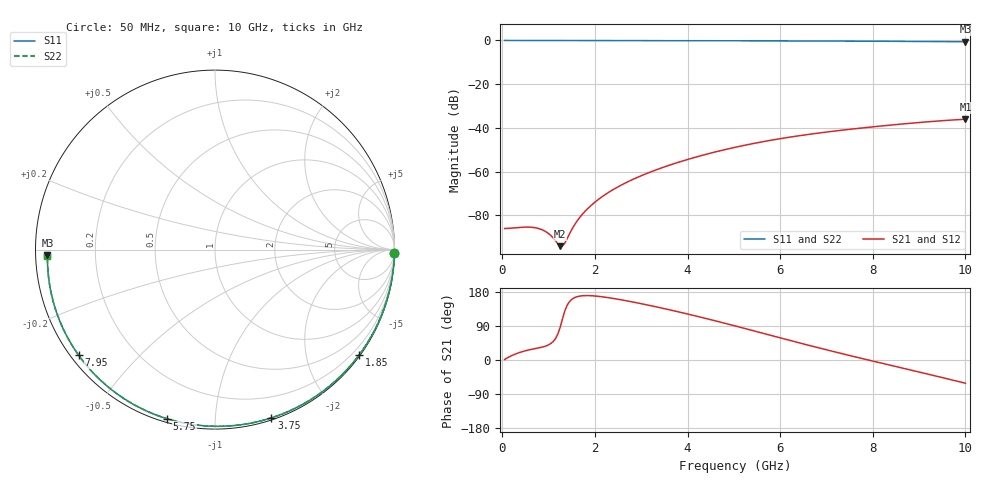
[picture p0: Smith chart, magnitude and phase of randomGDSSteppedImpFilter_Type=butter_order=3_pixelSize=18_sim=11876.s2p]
! freq	dB(S11)	phase(S11)	dB(S12)	phase(S12)
!  dB(S21)	phase(S21)	dB(S22)	phase(S22)
!S-par simulation data
#  GHz  S  DB  R 50
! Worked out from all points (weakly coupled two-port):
!   200 points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, 50 MHz to 10 GHz, reference 50 ohm
!   highest |S21| = -36.02 dB at 10 GHz (marker M1); lowest = -94.1 dB at 1.25 GHz (marker M2)
!   lowest |S11| = -0.6 dB at 10 GHz (marker M3), VSWR 29.31, Z = 1.71 - j0.872 ohm
!   |S11| at or under -10 dB: nowhere
!   |S22| runs from -0.6 to 0.0 dB; largest |S21 - S12| = 0
!   S11 on the Smith chart (normalised r, x): 50 MHz: open; 1.85 GHz: 0.03, -3.05; 3.75 GHz: 0.02, -1.39; 5.75 GHz: 0.02, -0.75; 7.95 GHz: 0.02, -0.34; 10 GHz: 0.03, -0.02
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0.05  -0.00 -1.0  -86.00 1.2  -86.00 1.2  -0.00 -1.0
0.65  -0.01 -12.9  -85.47 28.5  -85.47 28.5  -0.01 -12.9
1.25  -0.03 -24.7  -94.07 86.4  -94.07 86.4  -0.03 -24.7
1.7  -0.04 -33.4  -80.22 169.2  -80.22 169.2  -0.04 -33.4
1.75  -0.04 -34.4  -78.99 169.7  -78.99 169.7  -0.04 -34.4
1.85  -0.05 -36.3  -76.78 170.0  -76.78 170.0  -0.05 -36.3
2  -0.05 -39.2  -73.94 168.9  -73.94 168.9  -0.05 -39.2
2.15  -0.05 -42.0  -71.53 166.9  -71.53 166.9  -0.05 -42.0
2.5  -0.06 -48.6  -66.93 160.3  -66.93 160.3  -0.06 -48.6
2.9  -0.07 -56.1  -62.77 151.1  -62.77 151.1  -0.07 -56.0
3.4  -0.09 -65.2  -58.57 138.2  -58.57 138.2  -0.09 -65.2
3.75  -0.10 -71.5  -56.06 128.6  -56.06 128.6  -0.10 -71.5
4.4  -0.12 -82.9  -52.07 109.5  -52.07 109.5  -0.12 -82.9
5.05  -0.15 -94.1  -48.76 89.2  -48.76 89.2  -0.15 -94.1
5.75  -0.18 -105.9  -45.82 66.6  -45.82 66.6  -0.18 -105.9
6.2  -0.21 -113.4  -44.24 52.1  -44.24 52.1  -0.21 -113.3
6.7  -0.24 -121.6  -42.71 36.2  -42.71 36.2  -0.24 -121.6
7.3  -0.29 -131.5  -41.12 17.8  -41.12 17.8  -0.29 -131.4
7.95  -0.34 -142.2  -39.61 -1.4  -39.61 -1.4  -0.34 -142.2
8.35  -0.39 -148.9  -38.77 -13.0  -38.77 -13.0  -0.39 -148.9
9.2  -0.48 -163.5  -37.17 -37.5  -37.17 -37.5  -0.48 -163.5
10  -0.59 -178.0  -36.02 -61.3  -36.02 -61.3  -0.59 -178.0
